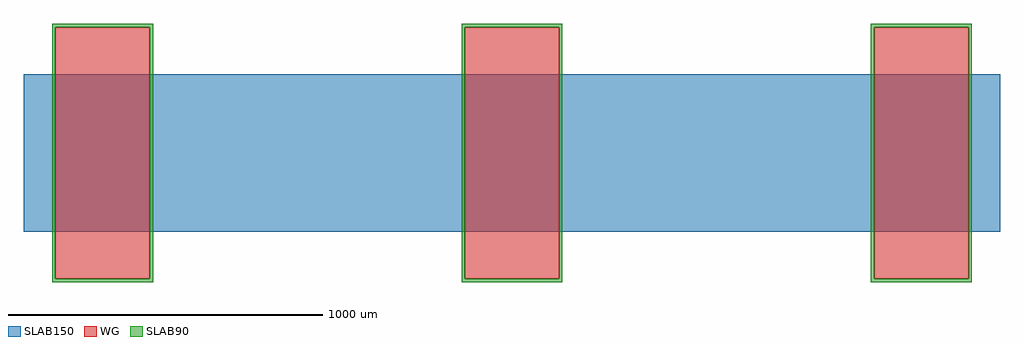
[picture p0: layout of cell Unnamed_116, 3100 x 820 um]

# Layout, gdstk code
import gdstk
lib = gdstk.Library(unit=1e-6, precision=1e-09)
def R(c, l, rs):  # rectangles x0, y0, x1, y1
    for r in rs: c.add(gdstk.rectangle(r[:2], r[2:], *l))
def P(c, l, *ps):  # polygons
    for p in ps: c.add(gdstk.Polygon(p, *l))
WG = (1, 0)
SLAB150 = (2, 0)
SLAB90 = (3, 0)

rectangle_gdsfactorypco_ = lib.new_cell('rectangle_gdsfactorypco_d7a62ac7')
R(rectangle_gdsfactorypco_, SLAB150, [(0,0,3100,500)])

c_rectangle_gdsfactorypco_ = lib.new_cell('rectangle_gdsfactorypco_f723c1cb')
R(c_rectangle_gdsfactorypco_, WG, [(0,0,300,800)])

unnamed_116 = lib.new_cell('Unnamed_116')
P(unnamed_116, SLAB90, [(-10,-10),(-10,800),(0,800),(0,0),(300,0),(300,800),(-10,800),(-10,810),(310,810),(310,-10)],
  [(1290,-10),(1290,800),(1300,800),(1300,0),(1600,0),(1600,800),(1290,800),(1290,810),(1610,810),(1610,-10)],
  [(2590,-10),(2590,800),(2600,800),(2600,0),(2900,0),(2900,800),(2590,800),(2590,810),(2910,810),(2910,-10)])
unnamed_116.add(gdstk.Reference(rectangle_gdsfactorypco_, (-100,150)))
unnamed_116.add(gdstk.Reference(c_rectangle_gdsfactorypco_, (0,0)))
unnamed_116.add(gdstk.Reference(c_rectangle_gdsfactorypco_, (1300,0)))
unnamed_116.add(gdstk.Reference(c_rectangle_gdsfactorypco_, (2600,0)))

lib.write_gds('Unnamed_116.gds')
